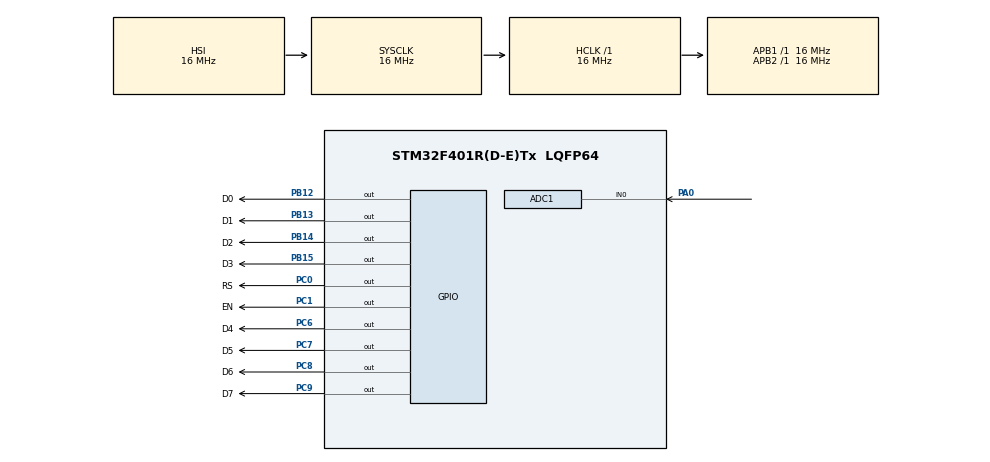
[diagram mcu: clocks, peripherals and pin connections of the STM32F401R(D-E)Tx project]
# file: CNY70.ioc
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ADC1.Channel-0\#ChannelRegularConversion=ADC_CHANNEL_0
ADC1.ClockPrescaler=ADC_CLOCK_SYNC_PCLK_DIV8
ADC1.ContinuousConvMode=ENABLE
ADC1.NbrOfConversionFlag=1
ADC1.Rank-0\#ChannelRegularConversion=1
ADC1.SamplingTime-0\#ChannelRegularConversion=ADC_SAMPLETIME_3CYCLES
ADC1.master=1
Mcu.Family=STM32F4
Mcu.Name=STM32F401R(D-E)Tx
Mcu.Package=LQFP64
NVIC.PriorityGroup=NVIC_PRIORITYGROUP_4
PA0-WKUP.Signal=ADCx_IN0
PB12.GPIO_Label=D0
PB12.Signal=GPIO_Output
PB13.GPIO_Label=D1
PB13.Signal=GPIO_Output
PB14.GPIO_Label=D2
PB14.Signal=GPIO_Output
PB15.GPIO_Label=D3
PB15.Signal=GPIO_Output
PC0.GPIO_Label=RS
PC0.Signal=GPIO_Output
PC1.GPIO_Label=EN
PC1.Signal=GPIO_Output
PC6.GPIO_Label=D4
PC6.Signal=GPIO_Output
PC7.GPIO_Label=D5
PC7.Signal=GPIO_Output
PC8.GPIO_Label=D6
PC8.Signal=GPIO_Output
PC9.GPIO_Label=D7
PC9.Signal=GPIO_Output
ProjectManager.HeapSize=0x200
ProjectManager.StackSize=0x400
ProjectManager.TargetToolchain=STM32CubeIDE
RCC.AHBFreq_Value=16000000
RCC.APB1Freq_Value=16000000
RCC.APB2Freq_Value=16000000
RCC.CortexFreq_Value=16000000
RCC.HSE_VALUE=25000000
RCC.HSI_VALUE=16000000
RCC.LSE_VALUE=32768
RCC.SYSCLKFreq_VALUE=16000000
RCC.VCOOutputFreq_Value=192000000
SH.ADCx_IN0.0=ADC1_IN0,IN0
board=custom

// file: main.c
/* USER CODE BEGIN Header */
/**
  ******************************************************************************
  * @file           : main.c
  * @brief          : Main program body
  ******************************************************************************
  * @attention
  *
  * <h2><center>&copy; Copyright (c) 2020 STMicroelectronics.
  * All rights reserved.</center></h2>
  *
  * This software component is licensed by ST under BSD 3-Clause license,
  * the "License"; You may not use this file except in compliance with the
  * License. You may obtain a copy of the License at:
  *                        opensource.org/licenses/BSD-3-Clause
  *
  ******************************************************************************
  */
/* USER CODE END Header */

#include "main.h"

/* USER CODE BEGIN Includes */
#include "STM_MY_LCD16X2.h"

/* USER CODE END Includes */

ADC_HandleTypeDef hadc1;

void SystemClock_Config(void);
static void MX_GPIO_Init(void);
static void MX_ADC1_Init(void);

int main(void)
{
  /* USER CODE BEGIN 1 */
	uint32_t adc_value = 0;
	float v; //sensor output voltage
	float distance;

  /* USER CODE END 1 */

  /* MCU Configuration--------------------------------------------------------*/

  /* Reset of all peripherals, Initializes the Flash interface and the Systick. */
  HAL_Init();

  /* Configure the system clock */
  SystemClock_Config();

  /* Initialize all configured peripherals */
  MX_GPIO_Init();
  MX_ADC1_Init();
  /* USER CODE BEGIN 2 */
  HAL_ADC_Start(&hadc1);
  LCD1602_Begin8BIT(GPIOC,GPIO_PIN_0,GPIO_PIN_1,GPIOB,GPIO_PIN_12,GPIO_PIN_13,GPIO_PIN_14,GPIO_PIN_15,GPIOC,GPIO_PIN_6,GPIO_PIN_7,GPIO_PIN_8,GPIO_PIN_9);

  /* USER CODE END 2 */

  /* Infinite loop */
  /* USER CODE BEGIN WHILE */
  while (1)
  {
	  adc_value = HAL_ADC_GetValue(&hadc1);
	  v = (float)adc_value * 0.0008058608;

	  distance = (float)((0.0003177*v*v*v*v-0.9283*v*v*v+15.96*v*v-74.24*v+104.5) / (v*v-6.466*v+10.46));

	  LCD1602_clear();
	  LCD1602_1stLine();
	  LCD1602_print("V : ");
	  LCD1602_PrintFloat(v,2);
	  LCD1602_2ndLine();
	  LCD1602_print("D : ");
	  LCD1602_PrintFloat(distance,4);
	  LCD1602_print(" mm");

	  HAL_Delay(50);
    /* USER CODE END WHILE */

  }
}

void SystemClock_Config(void)
{
  RCC_OscInitTypeDef RCC_OscInitStruct = {0};
  RCC_ClkInitTypeDef RCC_ClkInitStruct = {0};

  /** Configure the main internal regulator output voltage
  */
  __HAL_RCC_PWR_CLK_ENABLE();
  __HAL_PWR_VOLTAGESCALING_CONFIG(PWR_REGULATOR_VOLTAGE_SCALE2);
  /** Initializes the CPU, AHB and APB busses clocks
  */
  RCC_OscInitStruct.OscillatorType = RCC_OSCILLATORTYPE_HSI;
  RCC_OscInitStruct.HSIState = RCC_HSI_ON;
  RCC_OscInitStruct.HSICalibrationValue = RCC_HSICALIBRATION_DEFAULT;
  RCC_OscInitStruct.PLL.PLLState = RCC_PLL_NONE;
  if (HAL_RCC_OscConfig(&RCC_OscInitStruct) != HAL_OK)
  {
    Error_Handler();
  }
  /** Initializes the CPU, AHB and APB busses clocks
  */
  RCC_ClkInitStruct.ClockType = RCC_CLOCKTYPE_HCLK|RCC_CLOCKTYPE_SYSCLK
                              |RCC_CLOCKTYPE_PCLK1|RCC_CLOCKTYPE_PCLK2;
  RCC_ClkInitStruct.SYSCLKSource = RCC_SYSCLKSOURCE_HSI;
  RCC_ClkInitStruct.AHBCLKDivider = RCC_SYSCLK_DIV1;
  RCC_ClkInitStruct.APB1CLKDivider = RCC_HCLK_DIV1;
  RCC_ClkInitStruct.APB2CLKDivider = RCC_HCLK_DIV1;

  if (HAL_RCC_ClockConfig(&RCC_ClkInitStruct, FLASH_LATENCY_0) != HAL_OK)
  {
    Error_Handler();
  }
}

static void MX_ADC1_Init(void)
{

  ADC_ChannelConfTypeDef sConfig = {0};

  /** Configure the global features of the ADC (Clock, Resolution, Data Alignment and number of conversion)
  */
  hadc1.Instance = ADC1;
  hadc1.Init.ClockPrescaler = ADC_CLOCK_SYNC_PCLK_DIV8;
  hadc1.Init.Resolution = ADC_RESOLUTION_12B;
  hadc1.Init.ScanConvMode = DISABLE;
  hadc1.Init.ContinuousConvMode = ENABLE;
  hadc1.Init.DiscontinuousConvMode = DISABLE;
  hadc1.Init.ExternalTrigConvEdge = ADC_EXTERNALTRIGCONVEDGE_NONE;
  hadc1.Init.ExternalTrigConv = ADC_SOFTWARE_START;
  hadc1.Init.DataAlign = ADC_DATAALIGN_RIGHT;
  hadc1.Init.NbrOfConversion = 1;
  hadc1.Init.DMAContinuousRequests = DISABLE;
  hadc1.Init.EOCSelection = ADC_EOC_SINGLE_CONV;
  if (HAL_ADC_Init(&hadc1) != HAL_OK)
  {
    Error_Handler();
  }
  /** Configure for the selected ADC regular channel its corresponding rank in the sequencer and its sample time.
  */
  sConfig.Channel = ADC_CHANNEL_0;
  sConfig.Rank = 1;
  sConfig.SamplingTime = ADC_SAMPLETIME_3CYCLES;
  if (HAL_ADC_ConfigChannel(&hadc1, &sConfig) != HAL_OK)
  {
    Error_Handler();
  }

}

static void MX_GPIO_Init(void)
{
  GPIO_InitTypeDef GPIO_InitStruct = {0};

  /* GPIO Ports Clock Enable */
  __HAL_RCC_GPIOC_CLK_ENABLE();
  __HAL_RCC_GPIOA_CLK_ENABLE();
  __HAL_RCC_GPIOB_CLK_ENABLE();

  /*Configure GPIO pin Output Level */
  HAL_GPIO_WritePin(GPIOC, RS_Pin|EN_Pin|D4_Pin|D5_Pin
                          |D6_Pin|D7_Pin, GPIO_PIN_RESET);

  /*Configure GPIO pin Output Level */
  HAL_GPIO_WritePin(GPIOB, D0_Pin|D1_Pin|D2_Pin|D3_Pin, GPIO_PIN_RESET);

  /*Configure GPIO pins : RS_Pin EN_Pin D4_Pin D5_Pin
                           D6_Pin D7_Pin */
  GPIO_InitStruct.Pin = RS_Pin|EN_Pin|D4_Pin|D5_Pin
                          |D6_Pin|D7_Pin;
  GPIO_InitStruct.Mode = GPIO_MODE_OUTPUT_PP;
  GPIO_InitStruct.Pull = GPIO_NOPULL;
  GPIO_InitStruct.Speed = GPIO_SPEED_FREQ_LOW;
  HAL_GPIO_Init(GPIOC, &GPIO_InitStruct);

  /*Configure GPIO pins : D0_Pin D1_Pin D2_Pin D3_Pin */
  GPIO_InitStruct.Pin = D0_Pin|D1_Pin|D2_Pin|D3_Pin;
  GPIO_InitStruct.Mode = GPIO_MODE_OUTPUT_PP;
  GPIO_InitStruct.Pull = GPIO_NOPULL;
  GPIO_InitStruct.Speed = GPIO_SPEED_FREQ_LOW;
  HAL_GPIO_Init(GPIOB, &GPIO_InitStruct);

}

void Error_Handler(void)
{
}

/************************ (C) COPYRIGHT STMicroelectronics *****END OF FILE****/
